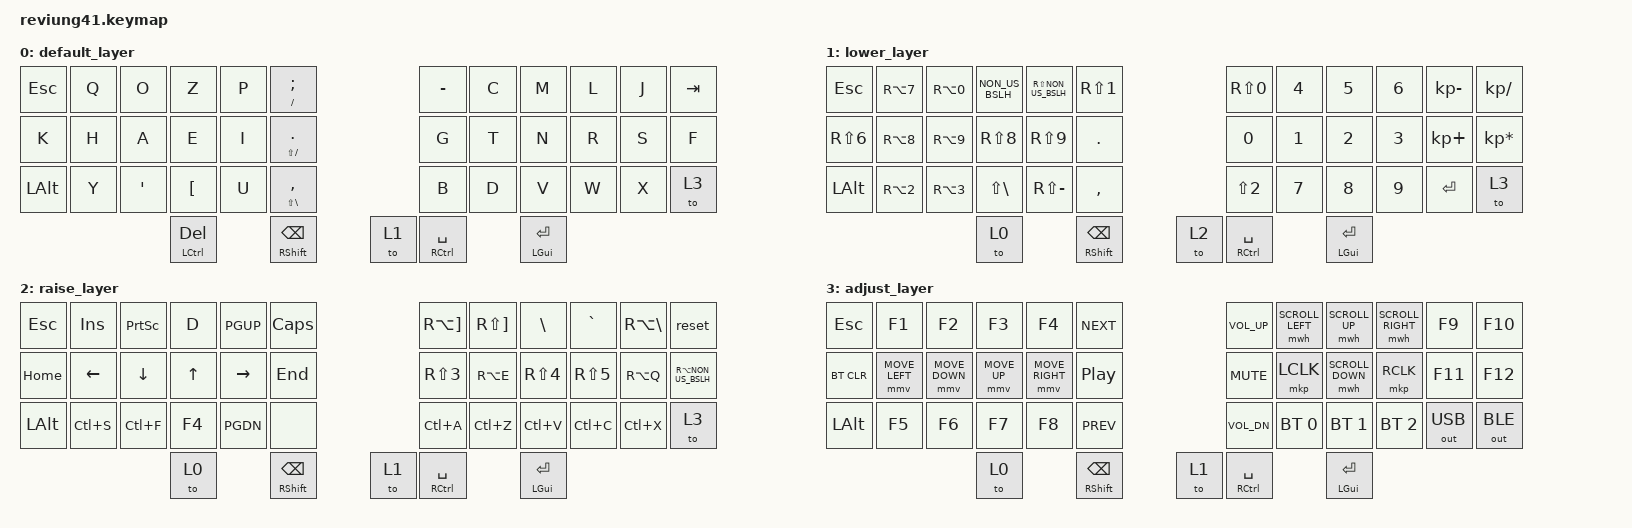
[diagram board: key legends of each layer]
/*
 * Copyright (c) 2020 The ZMK Contributors
 *
 * SPDX-License-Identifier: MIT
 */

#include <behaviors.dtsi>
#include <dt-bindings/zmk/keys.h>
#include <dt-bindings/zmk/bt.h>
#include <dt-bindings/zmk/rgb.h>
#include <dt-bindings/zmk/mouse.h>
#include <dt-bindings/zmk/outputs.h>

&mmv {
   time-to-max-speed-ms = <680>;
   acceleration-exponent=<2>;
};

/ {
        keymap {
                compatible = "zmk,keymap";

                default_layer {
// -------------------------------------------------------------------------------------
// |  ESC |  Q  |  O  |  Y  |  P  | Ö(-)|###|  ß  |  C   |  M  |  L  |  J  | TAB |
// |   K  |  H  |  A  |  E  |  I  | .(_)|###|  G  |  T   |  N  |  R  |  S  |  F  |
// |  ALT |  Z  |  Ä  |  Ü  |  U  | ,(')|###|  B  |  D   |  V  |  W  |  X  | @3@ |
//            | CTRL(DEL) | SHFT(BSPC) | @1@ | CTRL(SPC) |  GUI(RET) |
                        bindings = <
   &kp ESC &kp Q &kp O   &kp Z    &kp P &mt SLASH SEMI          &kp MINUS &kp C &kp M &kp L &kp J &kp TAB
   &kp K   &kp H &kp A   &kp E    &kp I &mt LS(SLASH) DOT       &kp G     &kp T &kp N &kp R &kp S &kp F
  &kp LALT &kp Y &kp SQT &kp LBKT &kp U &mt LS(BSLH) COMMA      &kp B     &kp D &kp V &kp W &kp X &to 3
                         &mt LCTRL DEL &mt RSHFT BSPC    &to 1    &mt RCTRL SPACE &mt LGUI RET
                        >;
                };

                lower_layer {
// ----------------------------------------------------------------------------------
// | ESC |  {  |  }  |  <  |  >  |  !  |###|  =  |  4  |  5  |  6  |  -  |   /  |
// |  &  |  [  |  ]  |  (  |  )  |  .  |###|  0  |  1  |  2  |  3  |  +  |   *  |
// | ALT |  ²  |  ³  |  '  |  ?  |  ,  |###|  "  |  7  |  8  |  9  | RET |  @3@ |
//                 | @0@ | SHFT(BSPC) | @2@ | CTRL(SPC) |  GUI(RET) |
                        bindings = <
   &kp ESC    &kp RA(N7) &kp RA(N0) &kp NON_US_BSLH &kp RS(NON_US_BSLH) &kp RS(N1)       &kp RS(N0)   &kp N4 &kp N5 &kp N6  &kp KP_MINUS &kp KP_DIVIDE
   &kp RS(N6) &kp RA(N8) &kp RA(N9) &kp RS(N8)      &kp RS(N9)          &kp DOT          &kp N0       &kp N1 &kp N2 &kp N3  &kp KP_PLUS  &kp KP_MULTIPLY
   &kp LALT   &kp RA(N2) &kp RA(N3) &kp LS(BSLH)    &kp RS(MINUS)       &kp COMMA        &kp LS(N2)   &kp N7 &kp N8 &kp N9  &kp RET      &to 3
                                                          &to 0 &mt RSHFT BSPC    &to 2    &mt RCTRL SPACE &mt LGUI RET
                        >;
                };

                raise_layer {
// -----------------------------------------------------------------------------------------
// | ESC | INS  | PSCRN | D  | PGUP | CAPS|###|  ~  |  *  |  #  |  ^  |  \  |  RST |
// | HOME| LEFT | DOWN  | UP | RIGHT| END |###|  §  |  €  |  $  |  %  |  @  |   |  |
// | ALT | C+S  |  C+F  | F4 | PGDN |     |###| C+A | C+Z | C+V | C+C | C+X |  @3@ |
//                    | @0@ | SHFT(BSPC) | @1@ | CTRL(SPC) |  GUI(RET) |
                        bindings = <
   &kp ESC  &kp INS   &kp PSCRN &kp D  &kp PGUP  &kp CAPS         &kp RA(RBKT) &kp RS(RBKT) &kp BSLH   &kp GRAVE  &kp RA(BSLH) &reset
   &kp HOME &kp LEFT  &kp DOWN  &kp UP &kp RIGHT &kp END          &kp RS(N3)   &kp RA(E)    &kp RS(N4) &kp RS(N5) &kp RA(Q)    &kp RA(NON_US_BSLH)
   &kp LALT &kp LC(S) &kp LC(F) &kp F4 &kp PGDN  &none            &kp LC(A)    &kp LC(Z)    &kp LC(V)  &kp LC(C)  &kp LC(X)    &to 3
                                  &to 0 &mt RSHFT BSPC    &to 1    &mt RCTRL SPACE &mt LGUI RET
                        >;
                };
                       
                adjust_layer {
// -----------------------------------------------------------------------------------------
// | ESC |   F1   |   F2   |   F3  |   F4    | V UP |###| VUP |  MS LE  | MS UP |  MS RI  |   F9   |  F10  | 
// | BTCL| M LEFT | M DOWN | M  UP | M RIGHT | V MU |###| VMU | MCLK LE | MS DN | MCLK RI |   F11  |  F12  | 
// | ALT |   F5   |   F6   |   F7  |   F8    | V DN |###| VDN |   BT1   |  BT2  |  BT3    | USB ACT| BTACT |
//                              | @0@ | SHFT(BSPC) | @1@ | CTRL(SPC) |  GUI(RET) |
                          bindings = <
     &kp ESC    &kp F1         &kp F2         &kp F3       &kp F4            &kp C_NEXT         &kp C_VOL_UP &mwh SCROLL_LEFT &mwh SCROLL_UP   &mwh SCROLL_RIGHT &kp F9       &kp F10
     &bt BT_CLR &mmv MOVE_LEFT &mmv MOVE_DOWN &mmv MOVE_UP &mmv MOVE_RIGHT   &kp C_PP  	        &kp C_MUTE   &mkp LCLK        &mwh SCROLL_DOWN &mkp RCLK         &kp F11      &kp F12
     &kp LALT   &kp F5         &kp F6         &kp F7       &kp F8            &kp C_PREV         &kp C_VOL_DN &bt BT_SEL 0     &bt BT_SEL 1     &bt BT_SEL 2      &out OUT_USB &out OUT_BLE
                                                                   &to 0 &mt RSHFT BSPC    &to 1    &mt RCTRL SPACE &mt LGUI RET
                          >;
                };
        };
};                      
